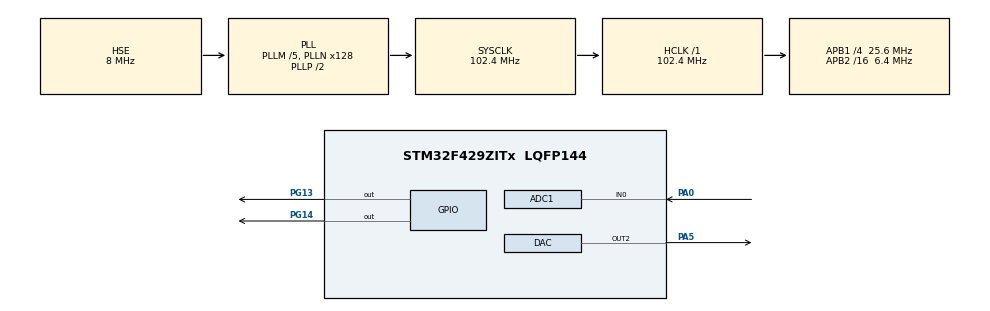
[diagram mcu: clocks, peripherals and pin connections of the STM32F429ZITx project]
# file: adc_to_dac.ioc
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ADC1.Channel-0\#ChannelRegularConversion=ADC_CHANNEL_0
ADC1.ClockPrescaler=ADC_CLOCK_SYNC_PCLK_DIV8
ADC1.ContinuousConvMode=ENABLE
ADC1.DMAContinuousRequests=ENABLE
ADC1.NbrOfConversion=1
ADC1.NbrOfConversionFlag=1
ADC1.Rank-0\#ChannelRegularConversion=1
ADC1.SamplingTime-0\#ChannelRegularConversion=ADC_SAMPLETIME_28CYCLES
ADC1.master=1
Dma.ADC1.0.Direction=DMA_PERIPH_TO_MEMORY
Dma.ADC1.0.FIFOMode=DMA_FIFOMODE_DISABLE
Dma.ADC1.0.Instance=DMA2_Stream0
Dma.ADC1.0.MemDataAlignment=DMA_MDATAALIGN_HALFWORD
Dma.ADC1.0.MemInc=DMA_MINC_ENABLE
Dma.ADC1.0.Mode=DMA_CIRCULAR
Dma.ADC1.0.PeriphDataAlignment=DMA_PDATAALIGN_HALFWORD
Dma.ADC1.0.PeriphInc=DMA_PINC_DISABLE
Dma.ADC1.0.Priority=DMA_PRIORITY_VERY_HIGH
Dma.Request0=ADC1
Mcu.Family=STM32F4
Mcu.Name=STM32F429ZITx
Mcu.Package=LQFP144
NVIC.DMA2_Stream0_IRQn=true\:0\:0\:false\:false\:true\:false\:true\:true
NVIC.PriorityGroup=NVIC_PRIORITYGROUP_4
PA0/WKUP.Signal=ADCx_IN0
PA13.Mode=Trace_Asynchronous_SW
PA13.Signal=SYS_JTMS-SWDIO
PA14.Mode=Trace_Asynchronous_SW
PA14.Signal=SYS_JTCK-SWCLK
PA5.Signal=COMP_DAC2_group
PB3.Mode=Trace_Asynchronous_SW
PB3.Signal=SYS_JTDO-SWO
PG13.Signal=GPIO_Output
PG14.PinState=GPIO_PIN_SET
PG14.Signal=GPIO_Output
PH0/OSC_IN.Mode=HSE-External-Oscillator
PH0/OSC_IN.Signal=RCC_OSC_IN
PH1/OSC_OUT.Mode=HSE-External-Oscillator
PH1/OSC_OUT.Signal=RCC_OSC_OUT
ProjectManager.HeapSize=0x200
ProjectManager.StackSize=0x400
ProjectManager.TargetToolchain=MDK-ARM V5.32
RCC.48MHZClocksFreq_Value=51200000
RCC.AHBFreq_Value=102400000
RCC.APB1CLKDivider=RCC_HCLK_DIV4
RCC.APB1Freq_Value=25600000
RCC.APB1TimFreq_Value=51200000
RCC.APB2CLKDivider=RCC_HCLK_DIV16
RCC.APB2Freq_Value=6400000
RCC.APB2TimFreq_Value=12800000
RCC.CortexFreq_Value=102400000
RCC.HCLKFreq_Value=102400000
RCC.HSE_VALUE=8000000
RCC.HSI_VALUE=16000000
RCC.LSE_VALUE=32768
RCC.PLLM=5
RCC.PLLN=128
RCC.PLLSourceVirtual=RCC_PLLSOURCE_HSE
RCC.SYSCLKFreq_VALUE=102400000
RCC.SYSCLKSource=RCC_SYSCLKSOURCE_PLLCLK
RCC.VCOOutputFreq_Value=204800000
RCC.VDD_VALUE=3
SH.ADCx_IN0.0=ADC1_IN0,IN0
SH.COMP_DAC2_group.0=DAC_OUT2,DAC_OUT2
board=custom

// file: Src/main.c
/* USER CODE BEGIN Header */
/**
  ******************************************************************************
  * @file           : main.c
  * @brief          : Main program body
  ******************************************************************************
  * @attention
  *
  * Copyright (c) 2023 STMicroelectronics.
  * All rights reserved.
  *
  * This software is licensed under terms that can be found in the LICENSE file
  * in the root directory of this software component.
  * If no LICENSE file comes with this software, it is provided AS-IS.
  *
  ******************************************************************************
  */
/* USER CODE END Header */
#include "main.h"

/* USER CODE BEGIN Includes */
#include "stdio.h"

/* USER CODE END Includes */

/* USER CODE BEGIN PD */

#define ADC_CONVERTED_DATA_BUFFER_SIZE   ((uint32_t)   20)

/* Definitions of environment analog values */
/* Value of analog reference voltage (Vref+), connected to analog voltage   */
/* supply Vdda (unit: mV).                                                  */
#define VDDA_APPLI                       ((uint32_t)3000)
/* USER CODE END PD */

DAC_HandleTypeDef hdac;

/* USER CODE BEGIN PV */
__IO uint16_t aADCxConvertedData[2][ADC_CONVERTED_DATA_BUFFER_SIZE]; /* ADC group regular conversion data */

/* Variable for ADC conversion data computation to physical values */
__IO uint16_t aADCxConvertedData_Voltage_mVolt;  /* Value of voltage calculated from ADC conversion data (unit: mV)*/

__IO uint32_t adc_avg_1s_ready; /* ADC data averaged over 1 second is ready*/
/* USER CODE END PV */

void SystemClock_Config(void);
static void MX_GPIO_Init(void);
static void MX_DMA_Init(void);
static void MX_ADC1_Init(void);
static void MX_DAC_Init(void);

int main(void)
{

  /* MCU Configuration--------------------------------------------------------*/

  /* Reset of all peripherals, Initializes the Flash interface and the Systick. */
  HAL_Init();

  /* Configure the system clock */
  SystemClock_Config();

  /* Initialize all configured peripherals */
  MX_GPIO_Init();
  MX_DMA_Init();
  MX_ADC1_Init();
  MX_DAC_Init();
  /* USER CODE BEGIN 2 */

	/* Enable ADC */
  LL_ADC_Enable(ADC1);
	/* Start ADC group regular conversion */
  LL_ADC_REG_StartConversionSWStart(ADC1);

  /* Force the default value to be loaded in the data holding register after reset system */
  HAL_DAC_SetValue(&hdac, DAC_CHANNEL_2, DAC_ALIGN_12B_R, 0);
  /* Enable DAC and starts conversion of channel */
  HAL_DAC_Start(&hdac, DAC_CHANNEL_2);

  /* Disable SYSYICK timer */
  SysTick->CTRL = 0;
  /* USER CODE END 2 */

  /* Infinite loop */
  while (1)
  {

    /* USER CODE BEGIN 3 */
    if(adc_avg_1s_ready)
    {
	    adc_avg_1s_ready = 0;
      printf("%4u mV\r\n", aADCxConvertedData_Voltage_mVolt);
    }

  }
  /* USER CODE END 3 */
}

void SystemClock_Config(void)
{
  RCC_OscInitTypeDef RCC_OscInitStruct = {0};
  RCC_ClkInitTypeDef RCC_ClkInitStruct = {0};

  /** Configure the main internal regulator output voltage
  */
  __HAL_RCC_PWR_CLK_ENABLE();
  __HAL_PWR_VOLTAGESCALING_CONFIG(PWR_REGULATOR_VOLTAGE_SCALE3);

  /** Initializes the RCC Oscillators according to the specified parameters
  * in the RCC_OscInitTypeDef structure.
  */
  RCC_OscInitStruct.OscillatorType = RCC_OSCILLATORTYPE_HSE;
  RCC_OscInitStruct.HSEState = RCC_HSE_ON;
  RCC_OscInitStruct.PLL.PLLState = RCC_PLL_ON;
  RCC_OscInitStruct.PLL.PLLSource = RCC_PLLSOURCE_HSE;
  RCC_OscInitStruct.PLL.PLLM = 5;
  RCC_OscInitStruct.PLL.PLLN = 128;
  RCC_OscInitStruct.PLL.PLLP = RCC_PLLP_DIV2;
  RCC_OscInitStruct.PLL.PLLQ = 4;
  if (HAL_RCC_OscConfig(&RCC_OscInitStruct) != HAL_OK)
  {
    Error_Handler();
  }

  /** Initializes the CPU, AHB and APB buses clocks
  */
  RCC_ClkInitStruct.ClockType = RCC_CLOCKTYPE_HCLK|RCC_CLOCKTYPE_SYSCLK
                              |RCC_CLOCKTYPE_PCLK1|RCC_CLOCKTYPE_PCLK2;
  RCC_ClkInitStruct.SYSCLKSource = RCC_SYSCLKSOURCE_PLLCLK;
  RCC_ClkInitStruct.AHBCLKDivider = RCC_SYSCLK_DIV1;
  RCC_ClkInitStruct.APB1CLKDivider = RCC_HCLK_DIV4;
  RCC_ClkInitStruct.APB2CLKDivider = RCC_HCLK_DIV16;

  if (HAL_RCC_ClockConfig(&RCC_ClkInitStruct, FLASH_LATENCY_3) != HAL_OK)
  {
    Error_Handler();
  }
}

static void MX_ADC1_Init(void)
{

  LL_ADC_InitTypeDef ADC_InitStruct = {0};
  LL_ADC_REG_InitTypeDef ADC_REG_InitStruct = {0};
  LL_ADC_CommonInitTypeDef ADC_CommonInitStruct = {0};

  LL_GPIO_InitTypeDef GPIO_InitStruct = {0};

  /* Peripheral clock enable */
  LL_APB2_GRP1_EnableClock(LL_APB2_GRP1_PERIPH_ADC1);

  LL_AHB1_GRP1_EnableClock(LL_AHB1_GRP1_PERIPH_GPIOA);
  /**ADC1 GPIO Configuration
  PA0/WKUP   ------> ADC1_IN0
  */
  GPIO_InitStruct.Pin = LL_GPIO_PIN_0;
  GPIO_InitStruct.Mode = LL_GPIO_MODE_ANALOG;
  GPIO_InitStruct.Pull = LL_GPIO_PULL_NO;
  LL_GPIO_Init(GPIOA, &GPIO_InitStruct);

  /* ADC1 DMA Init */

  /* ADC1 Init */
  LL_DMA_SetChannelSelection(DMA2, LL_DMA_STREAM_0, LL_DMA_CHANNEL_0);

  LL_DMA_SetDataTransferDirection(DMA2, LL_DMA_STREAM_0, LL_DMA_DIRECTION_PERIPH_TO_MEMORY);

  LL_DMA_SetStreamPriorityLevel(DMA2, LL_DMA_STREAM_0, LL_DMA_PRIORITY_VERYHIGH);

  LL_DMA_SetMode(DMA2, LL_DMA_STREAM_0, LL_DMA_MODE_CIRCULAR);

  LL_DMA_SetPeriphIncMode(DMA2, LL_DMA_STREAM_0, LL_DMA_PERIPH_NOINCREMENT);

  LL_DMA_SetMemoryIncMode(DMA2, LL_DMA_STREAM_0, LL_DMA_MEMORY_INCREMENT);

  LL_DMA_SetPeriphSize(DMA2, LL_DMA_STREAM_0, LL_DMA_PDATAALIGN_HALFWORD);

  LL_DMA_SetMemorySize(DMA2, LL_DMA_STREAM_0, LL_DMA_MDATAALIGN_HALFWORD);

  LL_DMA_DisableFifoMode(DMA2, LL_DMA_STREAM_0);

  /* USER CODE BEGIN ADC1_Init 1 */

  /* Set DMA transfer addresses of source and destination */
  LL_DMA_ConfigAddresses(DMA2,
                         LL_DMA_STREAM_0,
                         LL_ADC_DMA_GetRegAddr(ADC1, LL_ADC_DMA_REG_REGULAR_DATA),
                         (uint32_t)&aADCxConvertedData[0],
                         LL_DMA_DIRECTION_PERIPH_TO_MEMORY);

  LL_DMA_SetMemory1Address(DMA2,
                           LL_DMA_STREAM_0,
                           (uint32_t)&aADCxConvertedData[1]);

  /* Set DMA transfer size */
  LL_DMA_SetDataLength(DMA2,
                       LL_DMA_STREAM_0,
                       ADC_CONVERTED_DATA_BUFFER_SIZE);

  LL_DMA_SetCurrentTargetMem(DMA2,
	                         LL_DMA_STREAM_0,
                           LL_DMA_CURRENTTARGETMEM0);

  LL_DMA_EnableDoubleBufferMode(DMA2,
	                              LL_DMA_STREAM_0);

  /* Enable DMA transfer interruption: transfer complete */
  LL_DMA_EnableIT_TC(DMA2,
                     LL_DMA_STREAM_0);

  /*## Activation of DMA #####################################################*/
  /* Enable the DMA transfer */
  LL_DMA_EnableStream(DMA2, LL_DMA_STREAM_0);

  /* USER CODE END ADC1_Init 1 */

  /** Common config
  */
  ADC_InitStruct.Resolution = LL_ADC_RESOLUTION_12B;
  ADC_InitStruct.DataAlignment = LL_ADC_DATA_ALIGN_RIGHT;
  ADC_InitStruct.SequencersScanMode = LL_ADC_SEQ_SCAN_DISABLE;
  LL_ADC_Init(ADC1, &ADC_InitStruct);
  ADC_REG_InitStruct.TriggerSource = LL_ADC_REG_TRIG_SOFTWARE;
  ADC_REG_InitStruct.SequencerLength = LL_ADC_REG_SEQ_SCAN_DISABLE;
  ADC_REG_InitStruct.SequencerDiscont = LL_ADC_REG_SEQ_DISCONT_DISABLE;
  ADC_REG_InitStruct.ContinuousMode = LL_ADC_REG_CONV_CONTINUOUS;
  ADC_REG_InitStruct.DMATransfer = LL_ADC_REG_DMA_TRANSFER_UNLIMITED;
  LL_ADC_REG_Init(ADC1, &ADC_REG_InitStruct);
  LL_ADC_REG_SetFlagEndOfConversion(ADC1, LL_ADC_REG_FLAG_EOC_UNITARY_CONV);
  ADC_CommonInitStruct.CommonClock = LL_ADC_CLOCK_SYNC_PCLK_DIV8;
  ADC_CommonInitStruct.Multimode = LL_ADC_MULTI_INDEPENDENT;
  LL_ADC_CommonInit(__LL_ADC_COMMON_INSTANCE(ADC1), &ADC_CommonInitStruct);

  /** Configure Regular Channel
  */
  LL_ADC_REG_SetSequencerRanks(ADC1, LL_ADC_REG_RANK_1, LL_ADC_CHANNEL_0);
  LL_ADC_SetChannelSamplingTime(ADC1, LL_ADC_CHANNEL_0, LL_ADC_SAMPLINGTIME_28CYCLES);

}

static void MX_DAC_Init(void)
{

  DAC_ChannelConfTypeDef sConfig = {0};

  /** DAC Initialization
  */
  hdac.Instance = DAC;
  if (HAL_DAC_Init(&hdac) != HAL_OK)
  {
    Error_Handler();
  }

  /** DAC channel OUT2 config
  */
  sConfig.DAC_Trigger = DAC_TRIGGER_NONE;
  sConfig.DAC_OutputBuffer = DAC_OUTPUTBUFFER_ENABLE;
  if (HAL_DAC_ConfigChannel(&hdac, &sConfig, DAC_CHANNEL_2) != HAL_OK)
  {
    Error_Handler();
  }

}

static void MX_DMA_Init(void)
{

  /* DMA controller clock enable */
  __HAL_RCC_DMA2_CLK_ENABLE();

  /* DMA interrupt init */
  /* DMA2_Stream0_IRQn interrupt configuration */
  NVIC_SetPriority(DMA2_Stream0_IRQn, NVIC_EncodePriority(NVIC_GetPriorityGrouping(),0, 0));
  NVIC_EnableIRQ(DMA2_Stream0_IRQn);

}

static void MX_GPIO_Init(void)
{
  GPIO_InitTypeDef GPIO_InitStruct = {0};

  /* GPIO Ports Clock Enable */
  __HAL_RCC_GPIOE_CLK_ENABLE();
  __HAL_RCC_GPIOC_CLK_ENABLE();
  __HAL_RCC_GPIOF_CLK_ENABLE();
  __HAL_RCC_GPIOH_CLK_ENABLE();
  __HAL_RCC_GPIOA_CLK_ENABLE();
  __HAL_RCC_GPIOB_CLK_ENABLE();
  __HAL_RCC_GPIOG_CLK_ENABLE();
  __HAL_RCC_GPIOD_CLK_ENABLE();

  /*Configure GPIO pin Output Level */
  HAL_GPIO_WritePin(GPIOG, GPIO_PIN_13, GPIO_PIN_RESET);

  /*Configure GPIO pin Output Level */
  HAL_GPIO_WritePin(GPIOG, GPIO_PIN_14, GPIO_PIN_SET);

  /*Configure GPIO pins : PE2 PE3 PE4 PE5
                           PE6 PE7 PE8 PE9
                           PE10 PE11 PE12 PE13
                           PE14 PE15 PE0 PE1 */
  GPIO_InitStruct.Pin = GPIO_PIN_2|GPIO_PIN_3|GPIO_PIN_4|GPIO_PIN_5
                          |GPIO_PIN_6|GPIO_PIN_7|GPIO_PIN_8|GPIO_PIN_9
                          |GPIO_PIN_10|GPIO_PIN_11|GPIO_PIN_12|GPIO_PIN_13
                          |GPIO_PIN_14|GPIO_PIN_15|GPIO_PIN_0|GPIO_PIN_1;
  GPIO_InitStruct.Mode = GPIO_MODE_ANALOG;
  GPIO_InitStruct.Pull = GPIO_NOPULL;
  HAL_GPIO_Init(GPIOE, &GPIO_InitStruct);

  /*Configure GPIO pins : PC13 PC14 PC15 PC0
                           PC1 PC2 PC3 PC4
                           PC5 PC6 PC7 PC8
                           PC9 PC10 PC11 PC12 */
  GPIO_InitStruct.Pin = GPIO_PIN_13|GPIO_PIN_14|GPIO_PIN_15|GPIO_PIN_0
                          |GPIO_PIN_1|GPIO_PIN_2|GPIO_PIN_3|GPIO_PIN_4
                          |GPIO_PIN_5|GPIO_PIN_6|GPIO_PIN_7|GPIO_PIN_8
                          |GPIO_PIN_9|GPIO_PIN_10|GPIO_PIN_11|GPIO_PIN_12;
  GPIO_InitStruct.Mode = GPIO_MODE_ANALOG;
  GPIO_InitStruct.Pull = GPIO_NOPULL;
  HAL_GPIO_Init(GPIOC, &GPIO_InitStruct);

  /*Configure GPIO pins : PF0 PF1 PF2 PF3
                           PF4 PF5 PF6 PF7
                           PF8 PF9 PF10 PF11
                           PF12 PF13 PF14 PF15 */
  GPIO_InitStruct.Pin = GPIO_PIN_0|GPIO_PIN_1|GPIO_PIN_2|GPIO_PIN_3
                          |GPIO_PIN_4|GPIO_PIN_5|GPIO_PIN_6|GPIO_PIN_7
                          |GPIO_PIN_8|GPIO_PIN_9|GPIO_PIN_10|GPIO_PIN_11
                          |GPIO_PIN_12|GPIO_PIN_13|GPIO_PIN_14|GPIO_PIN_15;
  GPIO_InitStruct.Mode = GPIO_MODE_ANALOG;
  GPIO_InitStruct.Pull = GPIO_NOPULL;
  HAL_GPIO_Init(GPIOF, &GPIO_InitStruct);

  /*Configure GPIO pins : PA1 PA2 PA3 PA4
                           PA6 PA7 PA8 PA9
                           PA10 PA11 PA12 PA15 */
  GPIO_InitStruct.Pin = GPIO_PIN_1|GPIO_PIN_2|GPIO_PIN_3|GPIO_PIN_4
                          |GPIO_PIN_6|GPIO_PIN_7|GPIO_PIN_8|GPIO_PIN_9
                          |GPIO_PIN_10|GPIO_PIN_11|GPIO_PIN_12|GPIO_PIN_15;
  GPIO_InitStruct.Mode = GPIO_MODE_ANALOG;
  GPIO_InitStruct.Pull = GPIO_NOPULL;
  HAL_GPIO_Init(GPIOA, &GPIO_InitStruct);

  /*Configure GPIO pins : PB0 PB1 PB2 PB10
                           PB11 PB12 PB13 PB14
                           PB15 PB4 PB5 PB6
                           PB7 PB8 PB9 */
  GPIO_InitStruct.Pin = GPIO_PIN_0|GPIO_PIN_1|GPIO_PIN_2|GPIO_PIN_10
                          |GPIO_PIN_11|GPIO_PIN_12|GPIO_PIN_13|GPIO_PIN_14
                          |GPIO_PIN_15|GPIO_PIN_4|GPIO_PIN_5|GPIO_PIN_6
                          |GPIO_PIN_7|GPIO_PIN_8|GPIO_PIN_9;
  GPIO_InitStruct.Mode = GPIO_MODE_ANALOG;
  GPIO_InitStruct.Pull = GPIO_NOPULL;
  HAL_GPIO_Init(GPIOB, &GPIO_InitStruct);

  /*Configure GPIO pins : PG0 PG1 PG2 PG3
                           PG4 PG5 PG6 PG7
                           PG8 PG9 PG10 PG11
                           PG12 PG15 */
  GPIO_InitStruct.Pin = GPIO_PIN_0|GPIO_PIN_1|GPIO_PIN_2|GPIO_PIN_3
                          |GPIO_PIN_4|GPIO_PIN_5|GPIO_PIN_6|GPIO_PIN_7
                          |GPIO_PIN_8|GPIO_PIN_9|GPIO_PIN_10|GPIO_PIN_11
                          |GPIO_PIN_12|GPIO_PIN_15;
  GPIO_InitStruct.Mode = GPIO_MODE_ANALOG;
  GPIO_InitStruct.Pull = GPIO_NOPULL;
  HAL_GPIO_Init(GPIOG, &GPIO_InitStruct);

  /*Configure GPIO pins : PD8 PD9 PD10 PD11
                           PD12 PD13 PD14 PD15
                           PD0 PD1 PD2 PD3
                           PD4 PD5 PD6 PD7 */
  GPIO_InitStruct.Pin = GPIO_PIN_8|GPIO_PIN_9|GPIO_PIN_10|GPIO_PIN_11
                          |GPIO_PIN_12|GPIO_PIN_13|GPIO_PIN_14|GPIO_PIN_15
                          |GPIO_PIN_0|GPIO_PIN_1|GPIO_PIN_2|GPIO_PIN_3
                          |GPIO_PIN_4|GPIO_PIN_5|GPIO_PIN_6|GPIO_PIN_7;
  GPIO_InitStruct.Mode = GPIO_MODE_ANALOG;
  GPIO_InitStruct.Pull = GPIO_NOPULL;
  HAL_GPIO_Init(GPIOD, &GPIO_InitStruct);

  /*Configure GPIO pins : PG13 PG14 */
  GPIO_InitStruct.Pin = GPIO_PIN_13|GPIO_PIN_14;
  GPIO_InitStruct.Mode = GPIO_MODE_OUTPUT_PP;
  GPIO_InitStruct.Pull = GPIO_NOPULL;
  GPIO_InitStruct.Speed = GPIO_SPEED_FREQ_LOW;
  HAL_GPIO_Init(GPIOG, &GPIO_InitStruct);

}

/* USER CODE BEGIN 4 */
#ifndef ALT_SOLUTION
/**
  * @brief  DMA transfer complete callback
  * @note   This function is executed when the transfer complete interrupt
  *         is generated
  * @retval None
  */
void AdcDmaTransferComplete_Callback()
{
	static uint32_t ms_cnt = 0;
	uint32_t adc_buf_num;
	uint32_t adc_avg_1ms;
	static uint32_t adc_avg_1s = 0;

#ifdef MY_DEBUG
  LL_GPIO_TogglePin(GPIOG, LL_GPIO_PIN_13);
#endif

	adc_buf_num = (LL_DMA_GetCurrentTargetMem(DMA2, LL_DMA_STREAM_0) == LL_DMA_CURRENTTARGETMEM0) ^ 1;
	for(uint32_t i = 0; i < ADC_CONVERTED_DATA_BUFFER_SIZE; i++) adc_avg_1ms += aADCxConvertedData[adc_buf_num][i];
	adc_avg_1ms /= ADC_CONVERTED_DATA_BUFFER_SIZE; // result 12 bit code ADC

  HAL_DAC_SetValue(&hdac, DAC_CHANNEL_2, DAC_ALIGN_12B_R, adc_avg_1ms);  // set 12 bit code

	adc_avg_1s += adc_avg_1ms;
	if(++ms_cnt == 1000)
	{
#ifdef MY_DEBUG
  LL_GPIO_TogglePin(GPIOG, LL_GPIO_PIN_14);
#endif
		ms_cnt = 0;
		adc_avg_1s /= 1000;
		aADCxConvertedData_Voltage_mVolt = __LL_ADC_CALC_DATA_TO_VOLTAGE(VDDA_APPLI, adc_avg_1s, LL_ADC_RESOLUTION_12B);
		adc_avg_1s = 0;
		adc_avg_1s_ready = 1;
	}
}
#endif

#ifdef ALT_SOLUTION
/**
  * @brief  Alternative solution DMA transfer complete callback without HAL and LL
  * @note   This function is executed when the transfer complete interrupt
  *         is generated
  * @retval None
  */
void AdcDmaTransferComplete_CallbackAlt()
{
  static uint32_t ms_cnt = 0;
  volatile uint16_t *p_adc_buf;
  uint32_t adc_avg_1ms;
  static uint32_t adc_avg_1s = 0;

#ifdef MY_DEBUG
  LL_GPIO_TogglePin(GPIOG, LL_GPIO_PIN_13);
#endif

  p_adc_buf = *(aADCxConvertedData + (DMA2_S0CR_CT ^ 1));
  for(uint32_t i = 0; i < ADC_CONVERTED_DATA_BUFFER_SIZE; i++) adc_avg_1ms += *p_adc_buf++;
  adc_avg_1ms /= ADC_CONVERTED_DATA_BUFFER_SIZE; // result 12 bit code ADC

  DAC_DHR12R2 = adc_avg_1ms; // set 12 bit code

  adc_avg_1s += adc_avg_1ms;
  if(++ms_cnt == 1000)
  {
#ifdef MY_DEBUG
  LL_GPIO_TogglePin(GPIOG, LL_GPIO_PIN_14);
#endif
    ms_cnt = 0;
    adc_avg_1s /= 1000;
    aADCxConvertedData_Voltage_mVolt = adc_avg_1s * VDDA_APPLI / 4096;
    adc_avg_1s = 0;
    adc_avg_1s_ready = 1;
  }
}
#endif
/* USER CODE END 4 */

void Error_Handler(void)
{
  __disable_irq();
  while (1)
  {
  }
}
